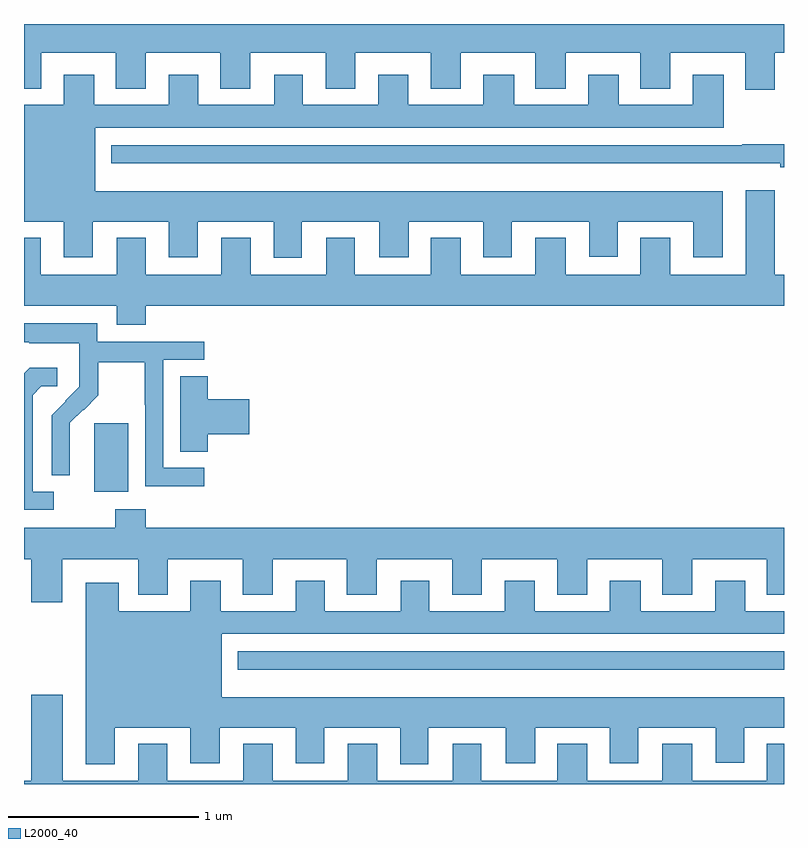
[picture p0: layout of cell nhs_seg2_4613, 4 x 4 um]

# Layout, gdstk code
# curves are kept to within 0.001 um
import gdstk
lib = gdstk.Library(unit=1e-6, precision=1e-09)
def R(c, l, rs):  # rectangles x0, y0, x1, y1
    for r in rs: c.add(gdstk.rectangle(r[:2], r[2:], *l))
def P(c, l, *ps):  # polygons
    for p in ps: c.add(gdstk.Polygon(p, *l))
L2000_40 = (2000, 40)

nhs_seg2_4613 = lib.new_cell('nhs_seg2_4613')
R(nhs_seg2_4613, L2000_40, [(362.126,632.402,365,632.499), (361.37,633.338,361.549,633.699)])
P(nhs_seg2_4613, L2000_40, [(364.951,635.648),(365,635.648),(365,635.8),(361,635.8),(361,635.459),(361.09,635.459),(361.09,635.648),(361.484,635.648),(361.484,635.459),(361.642,635.459),(361.642,635.648),(362.033,635.648),(362.033,635.459),(362.191,635.459),(362.191,635.648),(362.588,635.648),(362.588,635.459),(362.743,635.459),(362.743,635.648),(363.14,635.648),(363.14,635.459),(363.298,635.459),(363.298,635.648),(363.692,635.648),(363.692,635.459),(363.85,635.459),(363.85,635.648),(364.244,635.648),(364.244,635.459),(364.402,635.459),(364.402,635.648),(364.796,635.648),(364.796,635.454),(364.951,635.454)],
  [(362.461,634.76),(362.87,634.76),(362.87,634.572),(363.025,634.572),(363.025,634.76),(363.416,634.76),(363.416,634.572),(363.568,634.572),(363.568,634.76),(363.974,634.76),(363.974,634.575),(364.126,634.575),(364.126,634.76),(364.523,634.76),(364.523,634.572),(364.678,634.572),(364.678,634.921),(361.375,634.921),(361.375,635.255),(364.684,635.255),(364.684,635.533),(364.52,635.533),(364.52,635.374),(364.129,635.374),(364.129,635.533),(363.971,635.533),(363.971,635.374),(363.58,635.374),(363.58,635.533),(363.416,635.533),(363.416,635.374),(363.022,635.374),(363.022,635.533),(362.864,635.533),(362.864,635.374),(362.467,635.374),(362.467,635.533),(362.318,635.533),(362.318,635.374),(361.918,635.374),(361.918,635.533),(361.763,635.533),(361.763,635.374),(361.369,635.374),(361.369,635.533),(361.208,635.533),(361.208,635.374),(361,635.374),(361,634.76),(361.208,634.76),(361.208,634.572),(361.363,634.572),(361.363,634.76),(361.763,634.76),(361.763,634.572),(361.915,634.572),(361.915,634.76),(362.315,634.76),(362.315,634.569),(362.461,634.569)],
  [(365,635.168),(364.78,635.168),(364.78,635.163),(361.46,635.163),(361.46,635.066),(364.979,635.066),(364.979,635.047),(365,635.047)],
  [(361.64,634.316),(365,634.316),(365,634.48),(364.951,634.48),(364.951,634.924),(364.799,634.924),(364.799,634.48),(364.402,634.48),(364.402,634.675),(364.244,634.675),(364.244,634.48),(363.85,634.48),(363.85,634.675),(363.692,634.675),(363.692,634.48),(363.298,634.48),(363.298,634.675),(363.14,634.675),(363.14,634.48),(362.74,634.48),(362.74,634.675),(362.591,634.675),(362.591,634.48),(362.194,634.48),(362.194,634.675),(362.039,634.675),(362.039,634.48),(361.642,634.48),(361.642,634.675),(361.487,634.675),(361.487,634.48),(361.087,634.48),(361.087,634.675),(361,634.675),(361,634.316),(361.487,634.316),(361.487,634.217),(361.64,634.217)],
  [(361.948,633.465),(361.734,633.465),(361.734,634.032),(361.948,634.032),(361.948,634.128),(361.386,634.128),(361.386,634.225),(361,634.225),(361,634.125),(361.027,634.125),(361.027,634.121),(361.29,634.121),(361.29,633.987),(361.292,633.987),(361.292,633.89),(361.146,633.742),(361.146,633.424),(361.242,633.424),(361.241,633.701),(361.311,633.771),(361.314,633.768),(361.391,633.845),(361.391,634.02),(361.636,634.02),(361.636,633.796),(361.638,633.796),(361.638,633.367),(361.948,633.367)],
  [(361.156,633.339),(361.045,633.339),(361.045,633.847),(361.092,633.894),(361.174,633.894),(361.174,633.991),(361.03,633.991),(361,633.961),(361,633.243),(361.156,633.243)],
  [(361.967,633.641),(362.185,633.641),(362.185,633.824),(361.967,633.824),(361.967,633.947),(361.823,633.947),(361.823,633.55),(361.967,633.55)],
  [(361.64,633.247),(361.48,633.247),(361.48,633.148),(361,633.148),(361,632.984),(361.037,632.984),(361.037,632.757),(361.201,632.757),(361.201,632.984),(361.601,632.984),(361.601,632.795),(361.756,632.795),(361.756,632.984),(362.15,632.984),(362.15,632.795),(362.308,632.795),(362.308,632.984),(362.699,632.984),(362.699,632.795),(362.857,632.795),(362.857,632.984),(363.254,632.984),(363.254,632.795),(363.409,632.795),(363.409,632.984),(363.806,632.984),(363.806,632.795),(363.964,632.795),(363.964,632.984),(364.358,632.984),(364.358,632.795),(364.516,632.795),(364.516,632.984),(364.91,632.984),(364.91,632.795),(365,632.795),(365,633.148),(361.64,633.148)],
  [(361.477,632.096),(361.874,632.096),(361.874,631.908),(362.029,631.908),(362.029,632.096),(362.429,632.096),(362.429,631.908),(362.581,631.908),(362.581,632.096),(362.981,632.096),(362.981,631.905),(363.127,631.905),(363.127,632.096),(363.536,632.096),(363.536,631.908),(363.691,631.908),(363.691,632.096),(364.082,632.096),(364.082,631.908),(364.234,631.908),(364.234,632.096),(364.64,632.096),(364.64,631.911),(364.792,631.911),(364.792,632.096),(365,632.096),(365,632.257),(362.041,632.257),(362.041,632.591),(365,632.591),(365,632.71),(364.795,632.71),(364.795,632.869),(364.637,632.869),(364.637,632.71),(364.246,632.71),(364.246,632.869),(364.082,632.869),(364.082,632.71),(363.688,632.71),(363.688,632.869),(363.53,632.869),(363.53,632.71),(363.133,632.71),(363.133,632.869),(362.984,632.869),(362.984,632.71),(362.584,632.71),(362.584,632.869),(362.429,632.869),(362.429,632.71),(362.035,632.71),(362.035,632.869),(361.874,632.869),(361.874,632.71),(361.498,632.71),(361.498,632.86),(361.325,632.86),(361.325,631.905),(361.477,631.905)],
  [(365,632.011),(364.91,632.011),(364.91,631.816),(364.516,631.816),(364.516,632.011),(364.358,632.011),(364.358,631.816),(363.964,631.816),(363.964,632.011),(363.806,632.011),(363.806,631.816),(363.406,631.816),(363.406,632.011),(363.257,632.011),(363.257,631.816),(362.86,631.816),(362.86,632.011),(362.705,632.011),(362.705,631.816),(362.308,631.816),(362.308,632.011),(362.153,632.011),(362.153,631.816),(361.753,631.816),(361.753,632.011),(361.601,632.011),(361.601,631.816),(361.204,631.816),(361.204,632.269),(361.037,632.269),(361.037,631.816),(361,631.816),(361,631.8),(365,631.8)])

lib.write_gds('nhs_seg2_4613.gds')
